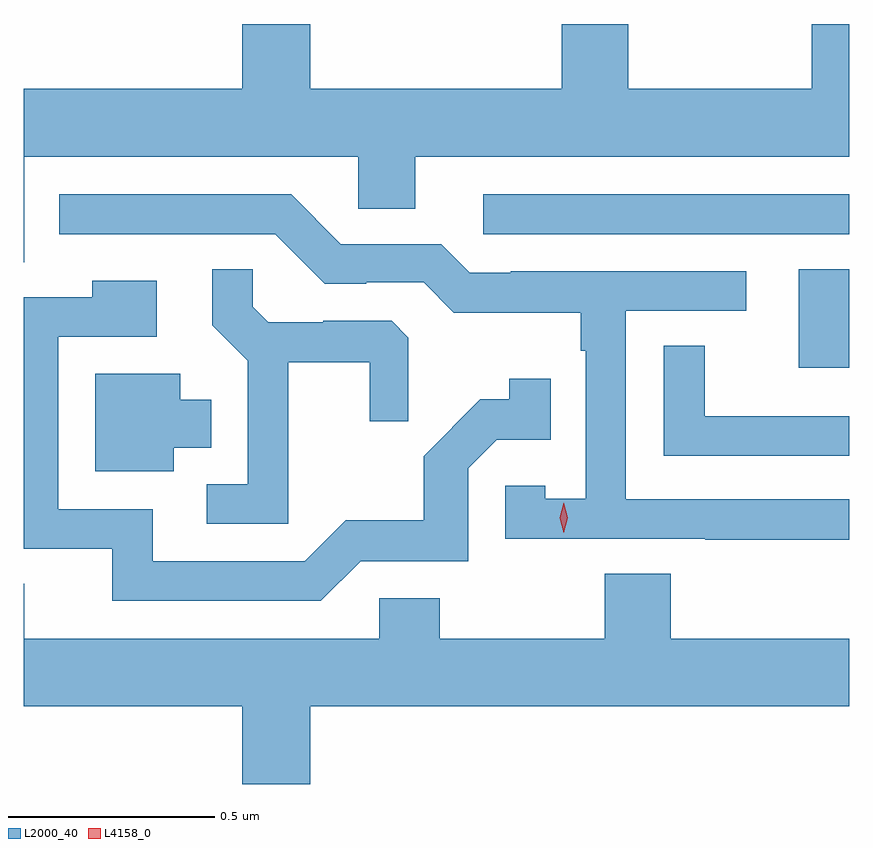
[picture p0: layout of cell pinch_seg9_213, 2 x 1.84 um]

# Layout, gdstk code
import gdstk
lib = gdstk.Library(unit=1e-6, precision=1e-09)
def R(c, l, rs):  # rectangles x0, y0, x1, y1
    for r in rs: c.add(gdstk.rectangle(r[:2], r[2:], *l))
def P(c, l, *ps):  # polygons
    for p in ps: c.add(gdstk.Polygon(p, *l))
L2000_40 = (2000, 40)
L4158_0 = (4158, 0)

pinch_seg9_213 = lib.new_cell('pinch_seg9_213')
R(pinch_seg9_213, L2000_40, [(621.899,1233.204,622.022,1233.443), (621.135,1233.528,622.022,1233.624)])
P(pinch_seg9_213, L2000_40, [(620.023,1233.716),(620.832,1233.716),(620.832,1233.589),(620.971,1233.589),(620.971,1233.716),(622.022,1233.716),(622.022,1234.037),(621.931,1234.037),(621.931,1233.88),(621.486,1233.88),(621.486,1234.037),(621.326,1234.037),(621.326,1233.88),(620.716,1233.88),(620.716,1234.037),(620.552,1234.037),(620.552,1233.88),(620.022,1233.88),(620.022,1233.46),(620.023,1233.46)],
  [(622.022,1232.886),(621.48,1232.886),(621.48,1233.342),(621.772,1233.342),(621.772,1233.438),(621.202,1233.438),(621.202,1233.435),(621.102,1233.435),(621.033,1233.504),(620.79,1233.504),(620.67,1233.624),(620.108,1233.624),(620.108,1233.528),(620.631,1233.528),(620.751,1233.408),(620.852,1233.408),(620.852,1233.411),(620.991,1233.411),(621.064,1233.338),(621.372,1233.338),(621.372,1233.245),(621.384,1233.245),(621.384,1232.887),(621.285,1232.887),(621.285,1232.919),(621.189,1232.919),(621.189,1232.79),(621.673,1232.79),(621.673,1232.788),(622.022,1232.788)],
  [(620.663,1233.218),(620.86,1233.218),(620.86,1233.075),(620.954,1233.075),(620.954,1233.277),(620.913,1233.318),(620.748,1233.318),(620.748,1233.315),(620.614,1233.315),(620.577,1233.352),(620.577,1233.443),(620.479,1233.443),(620.479,1233.307),(620.565,1233.221),(620.565,1232.922),(620.466,1232.922),(620.466,1232.826),(620.663,1232.826)],
  [(620.838,1232.736),(621.099,1232.736),(621.099,1232.961),(621.168,1233.03),(621.299,1233.03),(621.299,1233.178),(621.198,1233.178),(621.198,1233.128),(621.128,1233.128),(620.991,1232.99),(620.991,1232.835),(620.802,1232.835),(620.703,1232.736),(620.335,1232.736),(620.335,1232.862),(620.106,1232.862),(620.106,1233.279),(620.344,1233.279),(620.344,1233.415),(620.188,1233.415),(620.188,1233.375),(620.022,1233.375),(620.022,1232.766),(620.237,1232.766),(620.237,1232.64),(620.742,1232.64)],
  [(622.022,1233.087),(621.672,1233.087),(621.672,1233.257),(621.573,1233.257),(621.573,1232.991),(622.022,1232.991)],
  [(620.386,1233.011),(620.476,1233.011),(620.476,1233.127),(620.401,1233.127),(620.401,1233.19),(620.195,1233.19),(620.195,1232.954),(620.386,1232.954)],
  [(620.716,1232.384),(622.022,1232.384),(622.022,1232.548),(621.59,1232.548),(621.59,1232.705),(621.43,1232.705),(621.43,1232.548),(621.03,1232.548),(621.03,1232.646),(620.883,1232.646),(620.883,1232.548),(620.023,1232.548),(620.023,1232.681),(620.022,1232.681),(620.022,1232.384),(620.552,1232.384),(620.552,1232.196),(620.716,1232.196)])
P(pinch_seg9_213, L4158_0, [(621.33,1232.805),(621.33,1232.805),(621.32,1232.841),(621.33,1232.877),(621.33,1232.877),(621.33,1232.877),(621.34,1232.841),(621.33,1232.805)])

lib.write_gds('pinch_seg9_213.gds')
